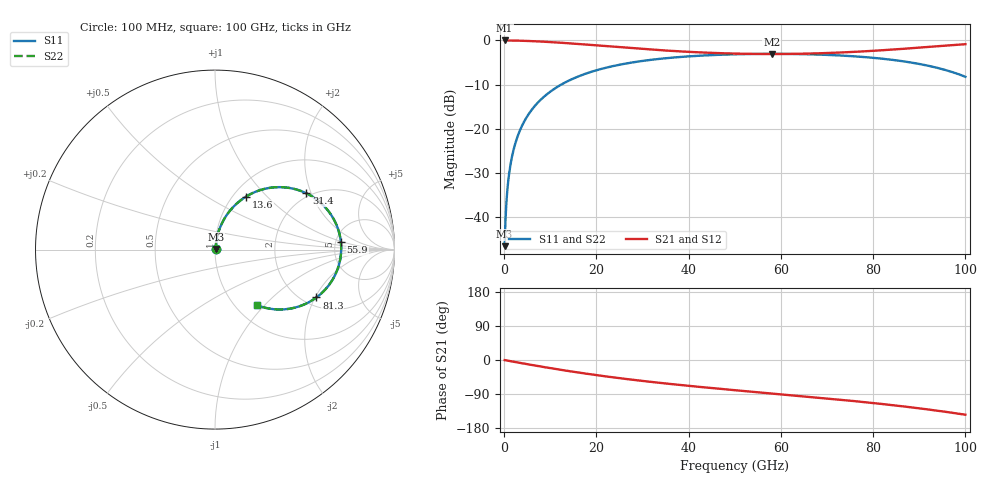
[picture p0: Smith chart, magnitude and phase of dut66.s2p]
! Touchstone file exported from HFSS 2026.1.0
!  File:  C:/ffzhzh/LocalFiles/Ansys_Project_Files/temp_train_RDL_66_1783498541_41296.aedt
!  Generated:  04:16:59 PM Jul  8, 2026
!  Design:  RDL
!  Project:  temp_train_RDL_66_1783498541_41296
! Variables:
!  h_bsmrdl = 2um
!  h_ox = 20um
!  h_rdl = 5um
!  h_sub = 80um
!  h_tmrdl = 4.45um
!  h_tsv = 80um
!  h_via = 3um
!  l_bsmrdl = 300um
!  l_sub = 911.2um
!  l_tmrdl = 511.2um
!  m_sub = 200um
!  pitch = 48.74um
!  r_tsv = 6um
!  s_tmrdl = 10um
!  w_bsmrdl = 18um
!  w_sub = 500um
!  w_tmrdl = 11.16um
!  x_tsv_center1 = 516.78um
!  x_tsv_center2 = 834.78um
!  x_tsv_center3 = 1357.14um
!  x_tsv_center4 = 1675.14um
!  x_tsv_center5 = 2197.5um
!  x_tsv_center6 = 2515.5um
# GHz S MA R 50.000000
! Terminal data exported
! Port[1] = TM_RDL1_1_T1
! Port[2] = TM_RDL1_1_T2
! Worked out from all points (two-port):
!   1000 points, 100 MHz to 100 GHz, reference 50 ohm
!   highest |S21| = -0.03 dB at 100 MHz (marker M1); lowest = -3.1 dB at 58 GHz (marker M2)
!   |S21| within 3 dB of the highest: start of sweep to 51.34 GHz; 64.58 GHz to end of sweep
!   lowest |S11| = -46.6 dB at 100 MHz (marker M3), VSWR 1.01, Z = 50.4 + j0.293 ohm
!   |S11| at or under -10 dB: start of sweep to 12.4 GHz
!   |S22| runs from -46.6 to -3.1 dB; largest |S21 - S12| = 1.6e-14
!   S11 on the Smith chart (normalised r, x): 100 MHz: 1.01, +0.01; 13.6 GHz: 1.14, +0.76; 31.4 GHz: 1.89, +1.85; 55.9 GHz: 5.58, +0.89; 81.3 GHz: 2.34, -2.05; 100 GHz: 1.24, -0.90
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0.1  0.004701 38.2  0.9963 -0.2  0.9963 -0.2  0.004701 38.2
! Gamma 0 0 0 0
! Port Impedance 50 0 50 0
0.8  0.02324 78.0  0.9956 -1.8  0.9956 -1.8  0.02324 78.0
1.3  0.03715 80.4  0.995 -2.9  0.995 -2.9  0.03715 80.4
2.2  0.06219 80.7  0.9934 -4.9  0.9934 -4.9  0.06219 80.7
3.4  0.09522 79.2  0.99 -7.6  0.99 -7.6  0.09522 79.2
5.1  0.1408 76.1  0.9835 -11.2  0.9835 -11.2  0.1408 76.1
7.4  0.1998 71.6  0.9717 -16.1  0.9717 -16.1  0.1998 71.6
10.2  0.2671 66.1  0.954 -21.8  0.954 -21.8  0.2671 66.1
13.6  0.3415 59.7  0.9289 -28.4  0.9289 -28.4  0.3415 59.7
16.8  0.4037 54.0  0.9031 -34.3  0.9031 -34.3  0.4037 54.0
23.6  0.5111 42.9  0.8469 -45.7  0.8469 -45.7  0.5111 42.9
31.4  0.5979 31.7  0.789 -57.2  0.789 -57.2  0.5979 31.7
33.4  0.6149 29.0  0.7761 -59.9  0.7761 -59.9  0.6149 29.0
41.6  0.6663 19.0  0.7336 -70.1  0.7336 -70.1  0.6664 19.0
50.1  0.6949 9.5  0.7076 -79.7  0.7076 -79.7  0.695 9.5
55.9  0.7026 3.3  0.7004 -86.1  0.7004 -86.1  0.7027 3.3
58  0.7032 1.1  0.6999 -88.3  0.6999 -88.3  0.7033 1.1
66.7  0.6934 -8.2  0.7094 -97.8  0.7094 -97.8  0.6935 -8.2
81.3  0.6247 -25.3  0.7681 -115.3  0.7681 -115.3  0.6248 -25.3
83.4  0.6079 -28.0  0.7808 -118.1  0.7808 -118.1  0.608 -28.0
92.3  0.5108 -40.6  0.8443 -131.1  0.8443 -131.1  0.5109 -40.6
100  0.387 -53.0  0.9041 -144.4  0.9041 -144.4  0.3871 -53.0
